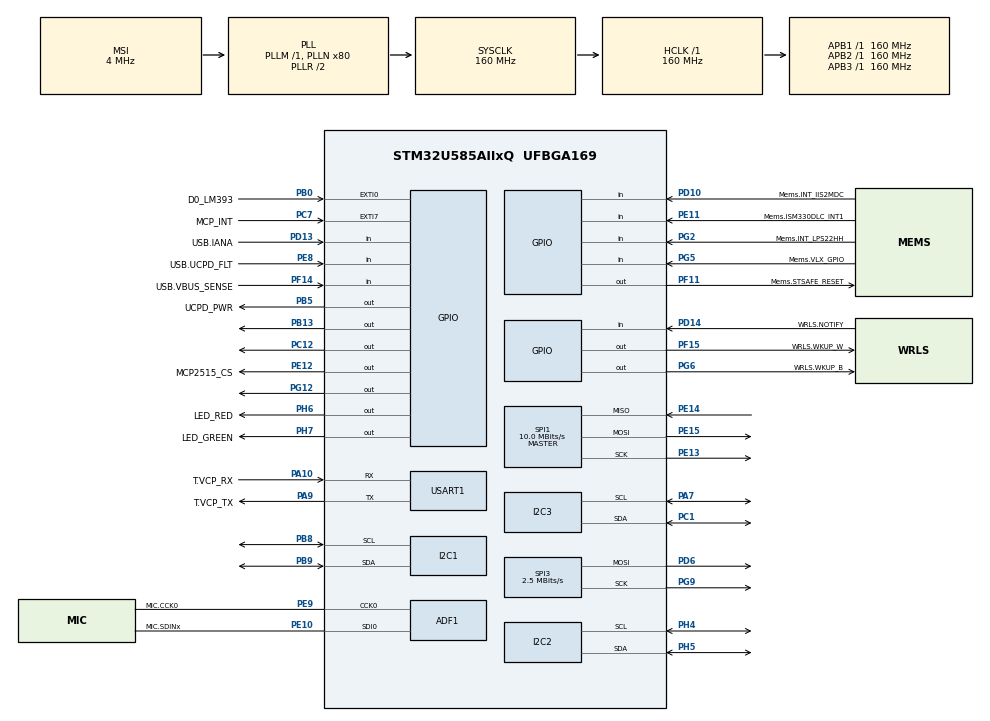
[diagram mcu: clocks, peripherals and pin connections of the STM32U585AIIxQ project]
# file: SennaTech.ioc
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ADF1.MDF_COMPARAM_ActivationOutputClock=ENABLE
ADF1.MDF_COMPARAM_Divider=10
ADF1.MDF_DFLT0_Decimation=64
ADF1.MDF_DFLT0_DiscardSamples=16
CORTEX_M33_NS.userName=CORTEX_M33
I2C1.Timing=0x30909DEC
I2C2.Timing=0x30909DEC
I2C3.Timing=0x30909DEC
Mcu.Family=STM32U5
Mcu.Name=STM32U585AIIxQ
Mcu.Package=UFBGA169
NVIC.EXTI0_IRQn=true\:0\:0\:false\:false\:true\:false\:true\:true\:true
NVIC.EXTI7_IRQn=true\:0\:0\:false\:false\:true\:false\:true\:true\:true
NVIC.PriorityGroup=NVIC_PRIORITYGROUP_4
NVIC.TIM6_IRQn=true\:15\:0\:false\:false\:true\:false\:false\:true\:true
NVIC.TimeBase=TIM6_IRQn
NVIC.TimeBaseIP=TIM6
PA10.GPIO_Label=T.VCP_RX
PA10.Mode=Asynchronous
PA10.Signal=USART1_RX
PA11.GPIO_Label=USB.C_P
PA11.Signal=USB_OTG_FS_DM
PA12.GPIO_Label=USB.C_P
PA12.Signal=USB_OTG_FS_DP
PA13\ (JTMS/SWDIO).GPIO_Label=T.SWDIO
PA13\ (JTMS/SWDIO).Signal=DEBUG_JTMS-SWDIO
PA14\ (JTCK/SWCLK).GPIO_Label=T.SWCLK
PA14\ (JTCK/SWCLK).Signal=DEBUG_JTCK-SWCLK
PA7.GPIO_Pu=GPIO_NOPULL
PA7.Mode=I2C
PA7.Signal=I2C3_SCL
PA9.GPIO_Label=T.VCP_TX
PA9.Mode=Asynchronous
PA9.Signal=USART1_TX
PB0.GPIO_Label=D0_LM393
PB0.GPIO_ModeDefaultEXTI=GPIO_MODE_IT_FALLING
PB0.GPIO_PuPd=GPIO_PULLUP
PB0.Signal=GPXTI0
PB1.Signal=MDF1_SDI0
PB11.GPIO_Label=OCTOSPI.R_NCS
PB11.Signal=OCTOSPIM_P1_NCS
PB13.Signal=GPIO_Output
PB15.GPIO_Label=USB.UCPD_CC2
PB15.Signal=UCPD1_CC2
PB3\ (JTDO/TRACESWO).GPIO_Label=T.SWO
PB3\ (JTDO/TRACESWO).Signal=DEBUG_JTDO-SWO
PB5.GPIO_Label=UCPD_PWR
PB5.Signal=GPIO_Output
PB8.Mode=I2C
PB8.Signal=I2C1_SCL
PB9.Mode=I2C
PB9.Signal=I2C1_SDA
PC1.GPIO_Pu=GPIO_NOPULL
PC1.Mode=I2C
PC1.Signal=I2C3_SDA
PC10.GPIO_Label=WRLS.UART4_TX
PC10.Signal=UART4_TX
PC12.Signal=GPIO_Output
PC7.GPIO_Label=MCP_INT
PC7.GPIO_ModeDefaultEXTI=GPIO_MODE_IT_FALLING
PC7.GPIO_PuPd=GPIO_PULLUP
PC7.Signal=GPXTI7
PD10.GPIO_Label=Mems.INT_IIS2MDC
PD10.Signal=GPIO_Input
PD13.GPIO_Label=USB.IANA
PD13.Signal=GPIO_Input
PD14.GPIO_Label=WRLS.NOTIFY
PD14.Signal=GPIO_Input
PD3.GPIO_Mode=GPIO_MODE_AF_PP
PD3.GPIO_PuPd=GPIO_NOPULL
PD3.GPIO_Speed=GPIO_SPEED_FREQ_LOW
PD3.Signal=SPI2_MISO
PD4.GPIO_Mode=GPIO_MODE_AF_PP
PD4.GPIO_PuPd=GPIO_NOPULL
PD4.GPIO_Speed=GPIO_SPEED_FREQ_LOW
PD4.Signal=SPI2_MOSI
PD6.Mode=TX_Only_Simplex_Unidirect_Master
PD6.Signal=SPI3_MOSI
PE10.GPIO_Label=MIC.SDINx
PE10.Mode=MOD_ADF_CCK
PE10.Signal=ADF1_SDI0
PE11.GPIO_Label=Mems.ISM330DLC_INT1
PE11.Signal=GPIO_Input
PE12.GPIO_Label=MCP2515_CS
PE12.GPIO_PuPd=GPIO_NOPULL
PE12.PinState=GPIO_PIN_SET
PE12.Signal=GPIO_Output
PE13.Mode=Full_Duplex_Master
PE13.Signal=SPI1_SCK
PE14.Mode=Full_Duplex_Master
PE14.Signal=SPI1_MISO
PE15.Mode=Full_Duplex_Master
PE15.Signal=SPI1_MOSI
PE8.GPIO_Label=USB.UCPD_FLT
PE8.Signal=GPIO_Input
PE9.GPIO_Label=MIC.CCK0
PE9.Mode=MOD_MDF_CCK0
PE9.Signal=ADF1_CCK0
PF10.Signal=MDF1_CCK1
PF11.GPIO_Label=Mems.STSAFE_RESET
PF11.Signal=GPIO_Output
PF12.GPIO_Label=OCTOSPI.F_DQS
PF12.Signal=OCTOSPIM_P2_DQS
PF14.GPIO_Label=USB.VBUS_SENSE
PF14.Signal=GPIO_Input
PF15.GPIO_Label=WRLS.WKUP_W
PF15.Signal=GPIO_Output
PF4.GPIO_Label=OCTOSPI.F_CLK_P
PF4.Signal=OCTOSPIM_P2_CLK
PG12.Signal=GPIO_Output
PG2.GPIO_Label=Mems.INT_LPS22HH
PG2.Signal=GPIO_Input
PG5.GPIO_Label=Mems.VLX_GPIO
PG5.Signal=GPIO_Input
PG6.GPIO_Label=WRLS.WKUP_B
PG6.Signal=GPIO_Output
PG9.Mode=TX_Only_Simplex_Unidirect_Master
PG9.Signal=SPI3_SCK
PH4.Mode=I2C
PH4.Signal=I2C2_SCL
PH5.Mode=I2C
PH5.Signal=I2C2_SDA
PH6.GPIO_Label=LED_RED
PH6.Signal=GPIO_Output
PH7.GPIO_Label=LED_GREEN
PH7.Signal=GPIO_Output
PH9.GPIO_Label=OCTOSPI.F_IO4
PH9.Signal=OCTOSPIM_P2_IO4
PWR.PowerMode=PWR_SMPS_SUPPLY
ProjectManager.HeapSize=0x200
ProjectManager.StackSize=0x400
ProjectManager.TargetToolchain=CMake
RCC.ADCFreq_Value=16000000
RCC.AHBFreq_Value=160000000
RCC.APB1Freq_Value=160000000
RCC.APB1TimFreq_Value=160000000
RCC.APB2Freq_Value=160000000
RCC.APB2TimFreq_Value=160000000
RCC.APB3Freq_Value=160000000
RCC.CortexFreq_Value=160000000
RCC.DACCLockSelectionVirtual=RCC_DAC1CLKSOURCE_LSI
RCC.EPOD_VALUE=4000000
RCC.HCLKFreq_Value=160000000
RCC.HSE_VALUE=16000000
RCC.HSI48_VALUE=48000000
RCC.HSI_VALUE=16000000
RCC.LSE_VALUE=32768
RCC.LSIDIV_VALUE=32000
RCC.MSI_VALUE=4000000
RCC.PLLN=80
RCC.SYSCLKFreq_VALUE=160000000
RCC.SYSCLKSource=RCC_SYSCLKSOURCE_PLLCLK
RCC.USBFreq_Value=48000000
RCC.VCOOutputFreq_Value=320000000
SPI1.BaudRatePrescaler=SPI_BAUDRATEPRESCALER_16
SPI1.CalculateBaudRate=10.0 MBits/s
SPI1.DataSize=SPI_DATASIZE_8BIT
SPI1.Direction=SPI_DIRECTION_2LINES
SPI1.Mode=SPI_MODE_MASTER
SPI1.VirtualType=VM_MASTER
SPI3.BaudRatePrescaler=SPI_BAUDRATEPRESCALER_64
SPI3.CalculateBaudRate=2.5 MBits/s
SPI3.Direction=SPI_DIRECTION_2LINES_TXONLY
SPI3.Mode=SPI_MODE_MASTER
SPI3.VirtualType=VM_MASTER
USART1.VirtualMode-Asynchronous=VM_ASYNC
VP_ICACHE_VS_ICACHE.Mode=DirectMappedCache
VP_LPBAMQUEUE_VS_QUEUE.Mode=QUEUEMODE
VP_LPBAM_VS_SIG1.Mode=SmartRun
VP_LPBAM_VS_SIG4.Mode=LPDMA1
VP_MEMORYMAP_VS_MEMORYMAP.Mode=CurAppReg
VP_PWR_VS_DBSignals.Mode=DisableDeadBatterySignals
VP_PWR_VS_LPOM.Mode=PowerOptimisation
VP_PWR_VS_SECSignals.Mode=Security/Privilege
VP_SYS_VS_tim6.Mode=TIM6
VP_THREADX_VS_RTOSJjThreadXJjCoreJjDefault.Mode=Core_Default
board=B-U585I-IOT02A

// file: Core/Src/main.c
/* USER CODE BEGIN Header */
/**
  ******************************************************************************
  * @file           : main.c
  * @brief          : Main program body
  ******************************************************************************
  * @attention
  *
  * Copyright (c) 2025 STMicroelectronics.
  * All rights reserved.
  *
  * This software is licensed under terms that can be found in the LICENSE file
  * in the root directory of this software component.
  * If no LICENSE file comes with this software, it is provided AS-IS.
  *
  ******************************************************************************
  */
/* USER CODE END Header */
#include "app_threadx.h"
#include "main.h"

/* USER CODE BEGIN Includes */
#include "mcp2515.h"
#include <string.h>
#include "core_cm33.h"
/* USER CODE END Includes */

/* USER CODE BEGIN PD */
#define PULSOS_POR_ROTACAO 20  // Number of holes in the encoder disc
#define INTERVALO_ENVIO_MS 100 // Updates the RPM and sends CAN every 100ms (10Hz)
/* USER CODE END PD */

MDF_HandleTypeDef AdfHandle0;
MDF_FilterConfigTypeDef AdfFilterConfig0;

I2C_HandleTypeDef hi2c1;
I2C_HandleTypeDef hi2c2;
I2C_HandleTypeDef hi2c3;

SPI_HandleTypeDef hspi1;
SPI_HandleTypeDef hspi3;

UART_HandleTypeDef huart1;

/* USER CODE BEGIN PV */
// --- Sensor variables---
volatile uint32_t pulse_count = 0; // Pulse counter (incremented on interrupt)
int rpm = 0;
uint32_t last_pulse_count = 0;
uint32_t last_time_ms = 0;
volatile uint32_t last_pulse_time = 0;
volatile uint32_t delta_t = 0;
volatile float rpm_instant = 0;
uint32_t last_print = 0;
volatile uint32_t last_interrupt_time = 0;

// --- CAN variables ---
CAN_Frame rxFrame;
volatile uint8_t flag_mensagem_recebida = 0; // Flag to process in the loop
/* USER CODE END PV */

void SystemClock_Config(void);
static void SystemPower_Config(void);
static void MX_GPIO_Init(void);
static void MX_I2C1_Init(void);
static void MX_ICACHE_Init(void);
static void MX_USART1_UART_Init(void);
static void MX_SPI1_Init(void);
static void MX_I2C3_Init(void);
static void MX_I2C2_Init(void);
static void MX_SPI3_Init(void);
static void MX_ADF1_Init(void);

/* USER CODE BEGIN 0 */

//Debug SWV print
int _write(int file, char *ptr, int len) {
    for (int i = 0; i < len; i++) {
        ITM_SendChar(*ptr++);
    }
    return len;
}

/* USER CODE END 0 */

int main(void)
{

  /* MCU Configuration--------------------------------------------------------*/

  /* Reset of all peripherals, Initializes the Flash interface and the Systick. */
  HAL_Init();

  /* Configure the System Power */
  SystemPower_Config();

  /* Configure the system clock */
  SystemClock_Config();

  /* Initialize all configured peripherals */
  MX_GPIO_Init();
  MX_I2C1_Init();
  MX_ICACHE_Init();
  MX_USART1_UART_Init();
  MX_SPI1_Init();
  MX_I2C3_Init();
  MX_I2C2_Init();
  MX_SPI3_Init();
  MX_ADF1_Init();
  /* USER CODE BEGIN 2 */

  /* WARNING */
  // Do not delete
  EXTI->SWIER1 = (1 << 0);

  /* USER CODE END 2 */

  MX_ThreadX_Init();

  /* We should never get here as control is now taken by the scheduler */

  /* Infinite loop */
  while (1)
  {

  }
}

void SystemClock_Config(void)
{
  RCC_OscInitTypeDef RCC_OscInitStruct = {0};
  RCC_ClkInitTypeDef RCC_ClkInitStruct = {0};

  /** Configure the main internal regulator output voltage
  */
  if (HAL_PWREx_ControlVoltageScaling(PWR_REGULATOR_VOLTAGE_SCALE1) != HAL_OK)
  {
    Error_Handler();
  }

  /** Initializes the CPU, AHB and APB buses clocks
  */
  RCC_OscInitStruct.OscillatorType = RCC_OSCILLATORTYPE_MSI;
  RCC_OscInitStruct.MSIState = RCC_MSI_ON;
  RCC_OscInitStruct.MSICalibrationValue = RCC_MSICALIBRATION_DEFAULT;
  RCC_OscInitStruct.MSIClockRange = RCC_MSIRANGE_4;
  RCC_OscInitStruct.PLL.PLLState = RCC_PLL_ON;
  RCC_OscInitStruct.PLL.PLLSource = RCC_PLLSOURCE_MSI;
  RCC_OscInitStruct.PLL.PLLMBOOST = RCC_PLLMBOOST_DIV1;
  RCC_OscInitStruct.PLL.PLLM = 1;
  RCC_OscInitStruct.PLL.PLLN = 80;
  RCC_OscInitStruct.PLL.PLLP = 2;
  RCC_OscInitStruct.PLL.PLLQ = 2;
  RCC_OscInitStruct.PLL.PLLR = 2;
  RCC_OscInitStruct.PLL.PLLRGE = RCC_PLLVCIRANGE_0;
  RCC_OscInitStruct.PLL.PLLFRACN = 0;
  if (HAL_RCC_OscConfig(&RCC_OscInitStruct) != HAL_OK)
  {
    Error_Handler();
  }

  /** Initializes the CPU, AHB and APB buses clocks
  */
  RCC_ClkInitStruct.ClockType = RCC_CLOCKTYPE_HCLK|RCC_CLOCKTYPE_SYSCLK
                              |RCC_CLOCKTYPE_PCLK1|RCC_CLOCKTYPE_PCLK2
                              |RCC_CLOCKTYPE_PCLK3;
  RCC_ClkInitStruct.SYSCLKSource = RCC_SYSCLKSOURCE_PLLCLK;
  RCC_ClkInitStruct.AHBCLKDivider = RCC_SYSCLK_DIV1;
  RCC_ClkInitStruct.APB1CLKDivider = RCC_HCLK_DIV1;
  RCC_ClkInitStruct.APB2CLKDivider = RCC_HCLK_DIV1;
  RCC_ClkInitStruct.APB3CLKDivider = RCC_HCLK_DIV1;

  if (HAL_RCC_ClockConfig(&RCC_ClkInitStruct, FLASH_LATENCY_4) != HAL_OK)
  {
    Error_Handler();
  }
}

/**
  * @brief Power Configuration
  * @retval None
  */
static void SystemPower_Config(void)
{
  HAL_PWREx_EnableVddIO2();

  /*
   * Disable the internal Pull-Up in Dead Battery pins of UCPD peripheral
   */
  HAL_PWREx_DisableUCPDDeadBattery();

  /*
   * Switch to SMPS regulator instead of LDO
   */
  if (HAL_PWREx_ConfigSupply(PWR_SMPS_SUPPLY) != HAL_OK)
  {
    Error_Handler();
  }
}

static void MX_ADF1_Init(void)
{

  /**
    AdfHandle0 structure initialization and HAL_MDF_Init function call
  */
  AdfHandle0.Instance = ADF1_Filter0;
  AdfHandle0.Init.CommonParam.ProcClockDivider = 1;
  AdfHandle0.Init.CommonParam.OutputClock.Activation = ENABLE;
  AdfHandle0.Init.CommonParam.OutputClock.Pins = MDF_OUTPUT_CLOCK_0;
  AdfHandle0.Init.CommonParam.OutputClock.Divider = 10;
  AdfHandle0.Init.CommonParam.OutputClock.Trigger.Activation = DISABLE;
  AdfHandle0.Init.SerialInterface.Activation = ENABLE;
  AdfHandle0.Init.SerialInterface.Mode = MDF_SITF_LF_MASTER_SPI_MODE;
  AdfHandle0.Init.SerialInterface.ClockSource = MDF_SITF_CCK0_SOURCE;
  AdfHandle0.Init.SerialInterface.Threshold = 4;
  AdfHandle0.Init.FilterBistream = MDF_BITSTREAM0_FALLING;
  if (HAL_MDF_Init(&AdfHandle0) != HAL_OK)
  {
    Error_Handler();
  }

  /**
    AdfFilterConfig0 structure initialization

    WARNING : only structure is filled, no specific init function call for filter
  */
  AdfFilterConfig0.DataSource = MDF_DATA_SOURCE_BSMX;
  AdfFilterConfig0.Delay = 0;
  AdfFilterConfig0.CicMode = MDF_ONE_FILTER_SINC4;
  AdfFilterConfig0.DecimationRatio = 64;
  AdfFilterConfig0.Gain = 0;
  AdfFilterConfig0.ReshapeFilter.Activation = DISABLE;
  AdfFilterConfig0.HighPassFilter.Activation = DISABLE;
  AdfFilterConfig0.SoundActivity.Activation = DISABLE;
  AdfFilterConfig0.AcquisitionMode = MDF_MODE_ASYNC_CONT;
  AdfFilterConfig0.FifoThreshold = MDF_FIFO_THRESHOLD_NOT_EMPTY;
  AdfFilterConfig0.DiscardSamples = 16;

}

static void MX_I2C1_Init(void)
{

  hi2c1.Instance = I2C1;
  hi2c1.Init.Timing = 0x30909DEC;
  hi2c1.Init.OwnAddress1 = 0;
  hi2c1.Init.AddressingMode = I2C_ADDRESSINGMODE_7BIT;
  hi2c1.Init.DualAddressMode = I2C_DUALADDRESS_DISABLE;
  hi2c1.Init.OwnAddress2 = 0;
  hi2c1.Init.OwnAddress2Masks = I2C_OA2_NOMASK;
  hi2c1.Init.GeneralCallMode = I2C_GENERALCALL_DISABLE;
  hi2c1.Init.NoStretchMode = I2C_NOSTRETCH_DISABLE;
  if (HAL_I2C_Init(&hi2c1) != HAL_OK)
  {
    Error_Handler();
  }

  /** Configure Analogue filter
  */
  if (HAL_I2CEx_ConfigAnalogFilter(&hi2c1, I2C_ANALOGFILTER_ENABLE) != HAL_OK)
  {
    Error_Handler();
  }

  /** Configure Digital filter
  */
  if (HAL_I2CEx_ConfigDigitalFilter(&hi2c1, 0) != HAL_OK)
  {
    Error_Handler();
  }

}

static void MX_I2C2_Init(void)
{

  hi2c2.Instance = I2C2;
  hi2c2.Init.Timing = 0x30909DEC;
  hi2c2.Init.OwnAddress1 = 0;
  hi2c2.Init.AddressingMode = I2C_ADDRESSINGMODE_7BIT;
  hi2c2.Init.DualAddressMode = I2C_DUALADDRESS_DISABLE;
  hi2c2.Init.OwnAddress2 = 0;
  hi2c2.Init.OwnAddress2Masks = I2C_OA2_NOMASK;
  hi2c2.Init.GeneralCallMode = I2C_GENERALCALL_DISABLE;
  hi2c2.Init.NoStretchMode = I2C_NOSTRETCH_DISABLE;
  if (HAL_I2C_Init(&hi2c2) != HAL_OK)
  {
    Error_Handler();
  }

  /** Configure Analogue filter
  */
  if (HAL_I2CEx_ConfigAnalogFilter(&hi2c2, I2C_ANALOGFILTER_ENABLE) != HAL_OK)
  {
    Error_Handler();
  }

  /** Configure Digital filter
  */
  if (HAL_I2CEx_ConfigDigitalFilter(&hi2c2, 0) != HAL_OK)
  {
    Error_Handler();
  }

}

static void MX_I2C3_Init(void)
{

  hi2c3.Instance = I2C3;
  hi2c3.Init.Timing = 0x30909DEC;
  hi2c3.Init.OwnAddress1 = 0;
  hi2c3.Init.AddressingMode = I2C_ADDRESSINGMODE_7BIT;
  hi2c3.Init.DualAddressMode = I2C_DUALADDRESS_DISABLE;
  hi2c3.Init.OwnAddress2 = 0;
  hi2c3.Init.OwnAddress2Masks = I2C_OA2_NOMASK;
  hi2c3.Init.GeneralCallMode = I2C_GENERALCALL_DISABLE;
  hi2c3.Init.NoStretchMode = I2C_NOSTRETCH_DISABLE;
  if (HAL_I2C_Init(&hi2c3) != HAL_OK)
  {
    Error_Handler();
  }

  /** Configure Analogue filter
  */
  if (HAL_I2CEx_ConfigAnalogFilter(&hi2c3, I2C_ANALOGFILTER_ENABLE) != HAL_OK)
  {
    Error_Handler();
  }

  /** Configure Digital filter
  */
  if (HAL_I2CEx_ConfigDigitalFilter(&hi2c3, 0) != HAL_OK)
  {
    Error_Handler();
  }

}

static void MX_ICACHE_Init(void)
{

  /** Enable instruction cache in 1-way (direct mapped cache)
  */
  if (HAL_ICACHE_ConfigAssociativityMode(ICACHE_1WAY) != HAL_OK)
  {
    Error_Handler();
  }
  if (HAL_ICACHE_Enable() != HAL_OK)
  {
    Error_Handler();
  }

}

static void MX_SPI1_Init(void)
{

  SPI_AutonomousModeConfTypeDef HAL_SPI_AutonomousMode_Cfg_Struct = {0};

  /* SPI1 parameter configuration*/
  hspi1.Instance = SPI1;
  hspi1.Init.Mode = SPI_MODE_MASTER;
  hspi1.Init.Direction = SPI_DIRECTION_2LINES;
  hspi1.Init.DataSize = SPI_DATASIZE_8BIT;
  hspi1.Init.CLKPolarity = SPI_POLARITY_LOW;
  hspi1.Init.CLKPhase = SPI_PHASE_1EDGE;
  hspi1.Init.NSS = SPI_NSS_SOFT;
  hspi1.Init.BaudRatePrescaler = SPI_BAUDRATEPRESCALER_16;
  hspi1.Init.FirstBit = SPI_FIRSTBIT_MSB;
  hspi1.Init.TIMode = SPI_TIMODE_DISABLE;
  hspi1.Init.CRCCalculation = SPI_CRCCALCULATION_DISABLE;
  hspi1.Init.CRCPolynomial = 0x7;
  hspi1.Init.NSSPMode = SPI_NSS_PULSE_ENABLE;
  hspi1.Init.NSSPolarity = SPI_NSS_POLARITY_LOW;
  hspi1.Init.FifoThreshold = SPI_FIFO_THRESHOLD_01DATA;
  hspi1.Init.MasterSSIdleness = SPI_MASTER_SS_IDLENESS_00CYCLE;
  hspi1.Init.MasterInterDataIdleness = SPI_MASTER_INTERDATA_IDLENESS_00CYCLE;
  hspi1.Init.MasterReceiverAutoSusp = SPI_MASTER_RX_AUTOSUSP_DISABLE;
  hspi1.Init.MasterKeepIOState = SPI_MASTER_KEEP_IO_STATE_DISABLE;
  hspi1.Init.IOSwap = SPI_IO_SWAP_DISABLE;
  hspi1.Init.ReadyMasterManagement = SPI_RDY_MASTER_MANAGEMENT_INTERNALLY;
  hspi1.Init.ReadyPolarity = SPI_RDY_POLARITY_HIGH;
  if (HAL_SPI_Init(&hspi1) != HAL_OK)
  {
    Error_Handler();
  }
  HAL_SPI_AutonomousMode_Cfg_Struct.TriggerState = SPI_AUTO_MODE_DISABLE;
  HAL_SPI_AutonomousMode_Cfg_Struct.TriggerSelection = SPI_GRP1_GPDMA_CH0_TCF_TRG;
  HAL_SPI_AutonomousMode_Cfg_Struct.TriggerPolarity = SPI_TRIG_POLARITY_RISING;
  if (HAL_SPIEx_SetConfigAutonomousMode(&hspi1, &HAL_SPI_AutonomousMode_Cfg_Struct) != HAL_OK)
  {
    Error_Handler();
  }

}

static void MX_SPI3_Init(void)
{

  SPI_AutonomousModeConfTypeDef HAL_SPI_AutonomousMode_Cfg_Struct = {0};

  /* SPI3 parameter configuration*/
  hspi3.Instance = SPI3;
  hspi3.Init.Mode = SPI_MODE_MASTER;
  hspi3.Init.Direction = SPI_DIRECTION_2LINES_TXONLY;
  hspi3.Init.DataSize = SPI_DATASIZE_8BIT;
  hspi3.Init.CLKPolarity = SPI_POLARITY_LOW;
  hspi3.Init.CLKPhase = SPI_PHASE_1EDGE;
  hspi3.Init.NSS = SPI_NSS_SOFT;
  hspi3.Init.BaudRatePrescaler = SPI_BAUDRATEPRESCALER_64;
  hspi3.Init.FirstBit = SPI_FIRSTBIT_MSB;
  hspi3.Init.TIMode = SPI_TIMODE_DISABLE;
  hspi3.Init.CRCCalculation = SPI_CRCCALCULATION_DISABLE;
  hspi3.Init.CRCPolynomial = 0x7;
  hspi3.Init.NSSPMode = SPI_NSS_PULSE_ENABLE;
  hspi3.Init.NSSPolarity = SPI_NSS_POLARITY_LOW;
  hspi3.Init.FifoThreshold = SPI_FIFO_THRESHOLD_01DATA;
  hspi3.Init.MasterSSIdleness = SPI_MASTER_SS_IDLENESS_00CYCLE;
  hspi3.Init.MasterInterDataIdleness = SPI_MASTER_INTERDATA_IDLENESS_00CYCLE;
  hspi3.Init.MasterReceiverAutoSusp = SPI_MASTER_RX_AUTOSUSP_DISABLE;
  hspi3.Init.MasterKeepIOState = SPI_MASTER_KEEP_IO_STATE_DISABLE;
  hspi3.Init.IOSwap = SPI_IO_SWAP_DISABLE;
  hspi3.Init.ReadyMasterManagement = SPI_RDY_MASTER_MANAGEMENT_INTERNALLY;
  hspi3.Init.ReadyPolarity = SPI_RDY_POLARITY_HIGH;
  if (HAL_SPI_Init(&hspi3) != HAL_OK)
  {
    Error_Handler();
  }
  HAL_SPI_AutonomousMode_Cfg_Struct.TriggerState = SPI_AUTO_MODE_DISABLE;
  HAL_SPI_AutonomousMode_Cfg_Struct.TriggerSelection = SPI_GRP2_LPDMA_CH0_TCF_TRG;
  HAL_SPI_AutonomousMode_Cfg_Struct.TriggerPolarity = SPI_TRIG_POLARITY_RISING;
  if (HAL_SPIEx_SetConfigAutonomousMode(&hspi3, &HAL_SPI_AutonomousMode_Cfg_Struct) != HAL_OK)
  {
    Error_Handler();
  }

}

static void MX_USART1_UART_Init(void)
{

  huart1.Instance = USART1;
  huart1.Init.BaudRate = 115200;
  huart1.Init.WordLength = UART_WORDLENGTH_8B;
  huart1.Init.StopBits = UART_STOPBITS_1;
  huart1.Init.Parity = UART_PARITY_NONE;
  huart1.Init.Mode = UART_MODE_TX_RX;
  huart1.Init.HwFlowCtl = UART_HWCONTROL_NONE;
  huart1.Init.OverSampling = UART_OVERSAMPLING_16;
  huart1.Init.OneBitSampling = UART_ONE_BIT_SAMPLE_DISABLE;
  huart1.Init.ClockPrescaler = UART_PRESCALER_DIV1;
  huart1.AdvancedInit.AdvFeatureInit = UART_ADVFEATURE_NO_INIT;
  if (HAL_UART_Init(&huart1) != HAL_OK)
  {
    Error_Handler();
  }
  if (HAL_UARTEx_SetTxFifoThreshold(&huart1, UART_TXFIFO_THRESHOLD_1_8) != HAL_OK)
  {
    Error_Handler();
  }
  if (HAL_UARTEx_SetRxFifoThreshold(&huart1, UART_RXFIFO_THRESHOLD_1_8) != HAL_OK)
  {
    Error_Handler();
  }
  if (HAL_UARTEx_DisableFifoMode(&huart1) != HAL_OK)
  {
    Error_Handler();
  }

}

static void MX_GPIO_Init(void)
{
  GPIO_InitTypeDef GPIO_InitStruct = {0};

  /* GPIO Ports Clock Enable */
  __HAL_RCC_GPIOG_CLK_ENABLE();
  __HAL_RCC_GPIOD_CLK_ENABLE();
  __HAL_RCC_GPIOB_CLK_ENABLE();
  __HAL_RCC_GPIOC_CLK_ENABLE();
  __HAL_RCC_GPIOA_CLK_ENABLE();
  __HAL_RCC_GPIOH_CLK_ENABLE();
  __HAL_RCC_GPIOF_CLK_ENABLE();
  __HAL_RCC_GPIOE_CLK_ENABLE();

  /*Configure GPIO pin Output Level */
  HAL_GPIO_WritePin(GPIOB, UCPD_PWR_Pin|GPIO_PIN_13, GPIO_PIN_RESET);

  /*Configure GPIO pin Output Level */
  HAL_GPIO_WritePin(GPIOG, GPIO_PIN_12|WRLS_WKUP_B_Pin, GPIO_PIN_RESET);

  /*Configure GPIO pin Output Level */
  HAL_GPIO_WritePin(GPIOC, GPIO_PIN_12, GPIO_PIN_RESET);

  /*Configure GPIO pin Output Level */
  HAL_GPIO_WritePin(GPIOH, LED_RED_Pin|LED_GREEN_Pin, GPIO_PIN_RESET);

  /*Configure GPIO pin Output Level */
  HAL_GPIO_WritePin(GPIOF, Mems_STSAFE_RESET_Pin|WRLS_WKUP_W_Pin, GPIO_PIN_RESET);

  /*Configure GPIO pin Output Level */
  HAL_GPIO_WritePin(MCP2515_CS_GPIO_Port, MCP2515_CS_Pin, GPIO_PIN_SET);

  /*Configure GPIO pins : UCPD_PWR_Pin PB13 */
  GPIO_InitStruct.Pin = UCPD_PWR_Pin|GPIO_PIN_13;
  GPIO_InitStruct.Mode = GPIO_MODE_OUTPUT_PP;
  GPIO_InitStruct.Pull = GPIO_NOPULL;
  GPIO_InitStruct.Speed = GPIO_SPEED_FREQ_LOW;
  HAL_GPIO_Init(GPIOB, &GPIO_InitStruct);

  /*Configure GPIO pins : PD4 PD3 */
  GPIO_InitStruct.Pin = GPIO_PIN_4|GPIO_PIN_3;
  GPIO_InitStruct.Mode = GPIO_MODE_AF_PP;
  GPIO_InitStruct.Pull = GPIO_NOPULL;
  GPIO_InitStruct.Speed = GPIO_SPEED_FREQ_LOW;
  GPIO_InitStruct.Alternate = GPIO_AF5_SPI2;
  HAL_GPIO_Init(GPIOD, &GPIO_InitStruct);

  /*Configure GPIO pin : WRLS_UART4_TX_Pin */
  GPIO_InitStruct.Pin = WRLS_UART4_TX_Pin;
  GPIO_InitStruct.Mode = GPIO_MODE_AF_PP;
  GPIO_InitStruct.Pull = GPIO_NOPULL;
  GPIO_InitStruct.Speed = GPIO_SPEED_FREQ_LOW;
  GPIO_InitStruct.Alternate = GPIO_AF8_UART4;
  HAL_GPIO_Init(WRLS_UART4_TX_GPIO_Port, &GPIO_InitStruct);

  /*Configure GPIO pins : PG12 WRLS_WKUP_B_Pin */
  GPIO_InitStruct.Pin = GPIO_PIN_12|WRLS_WKUP_B_Pin;
  GPIO_InitStruct.Mode = GPIO_MODE_OUTPUT_PP;
  GPIO_InitStruct.Pull = GPIO_NOPULL;
  GPIO_InitStruct.Speed = GPIO_SPEED_FREQ_LOW;
  HAL_GPIO_Init(GPIOG, &GPIO_InitStruct);

  /*Configure GPIO pin : PC12 */
  GPIO_InitStruct.Pin = GPIO_PIN_12;
  GPIO_InitStruct.Mode = GPIO_MODE_OUTPUT_PP;
  GPIO_InitStruct.Pull = GPIO_NOPULL;
  GPIO_InitStruct.Speed = GPIO_SPEED_FREQ_LOW;
  HAL_GPIO_Init(GPIOC, &GPIO_InitStruct);

  /*Configure GPIO pin : OCTOSPI_F_IO4_Pin */
  GPIO_InitStruct.Pin = OCTOSPI_F_IO4_Pin;
  GPIO_InitStruct.Mode = GPIO_MODE_AF_PP;
  GPIO_InitStruct.Pull = GPIO_NOPULL;
  GPIO_InitStruct.Speed = GPIO_SPEED_FREQ_VERY_HIGH;
  GPIO_InitStruct.Alternate = GPIO_AF5_OCTOSPI2;
  HAL_GPIO_Init(OCTOSPI_F_IO4_GPIO_Port, &GPIO_InitStruct);

  /*Configure GPIO pins : LED_RED_Pin LED_GREEN_Pin */
  GPIO_InitStruct.Pin = LED_RED_Pin|LED_GREEN_Pin;
  GPIO_InitStruct.Mode = GPIO_MODE_OUTPUT_PP;
  GPIO_InitStruct.Pull = GPIO_NOPULL;
  GPIO_InitStruct.Speed = GPIO_SPEED_FREQ_LOW;
  HAL_GPIO_Init(GPIOH, &GPIO_InitStruct);

  /*Configure GPIO pins : USB_C_P_Pin USB_C_PA11_Pin */
  GPIO_InitStruct.Pin = USB_C_P_Pin|USB_C_PA11_Pin;
  GPIO_InitStruct.Mode = GPIO_MODE_AF_PP;
  GPIO_InitStruct.Pull = GPIO_NOPULL;
  GPIO_InitStruct.Speed = GPIO_SPEED_FREQ_LOW;
  GPIO_InitStruct.Alternate = GPIO_AF10_USB;
  HAL_GPIO_Init(GPIOA, &GPIO_InitStruct);

  /*Configure GPIO pins : OCTOSPI_F_CLK_P_Pin OCTOSPI_F_DQS_Pin */
  GPIO_InitStruct.Pin = OCTOSPI_F_CLK_P_Pin|OCTOSPI_F_DQS_Pin;
  GPIO_InitStruct.Mode = GPIO_MODE_AF_PP;
  GPIO_InitStruct.Pull = GPIO_NOPULL;
  GPIO_InitStruct.Speed = GPIO_SPEED_FREQ_VERY_HIGH;
  GPIO_InitStruct.Alternate = GPIO_AF5_OCTOSPI2;
  HAL_GPIO_Init(GPIOF, &GPIO_InitStruct);

  /*Configure GPIO pin : MCP_INT_Pin */
  GPIO_InitStruct.Pin = MCP_INT_Pin;
  GPIO_InitStruct.Mode = GPIO_MODE_IT_FALLING;
  GPIO_InitStruct.Pull = GPIO_PULLUP;
  HAL_GPIO_Init(MCP_INT_GPIO_Port, &GPIO_InitStruct);

  /*Configure GPIO pin : PF10 */
  GPIO_InitStruct.Pin = GPIO_PIN_10;
  GPIO_InitStruct.Mode = GPIO_MODE_AF_PP;
  GPIO_InitStruct.Pull = GPIO_NOPULL;
  GPIO_InitStruct.Speed = GPIO_SPEED_FREQ_LOW;
  GPIO_InitStruct.Alternate = GPIO_AF6_MDF1;
  HAL_GPIO_Init(GPIOF, &GPIO_InitStruct);

  /*Configure GPIO pins : Mems_VLX_GPIO_Pin Mems_INT_LPS22HH_Pin */
  GPIO_InitStruct.Pin = Mems_VLX_GPIO_Pin|Mems_INT_LPS22HH_Pin;
  GPIO_InitStruct.Mode = GPIO_MODE_INPUT;
  GPIO_InitStruct.Pull = GPIO_NOPULL;
  HAL_GPIO_Init(GPIOG, &GPIO_InitStruct);

  /*Configure GPIO pins : WRLS_NOTIFY_Pin Mems_INT_IIS2MDC_Pin USB_IANA_Pin */
  GPIO_InitStruct.Pin = WRLS_NOTIFY_Pin|Mems_INT_IIS2MDC_Pin|USB_IANA_Pin;
  GPIO_InitStruct.Mode = GPIO_MODE_INPUT;
  GPIO_InitStruct.Pull = GPIO_NOPULL;
  HAL_GPIO_Init(GPIOD, &GPIO_InitStruct);

  /*Configure GPIO pin : D0_LM393_Pin */
  GPIO_InitStruct.Pin = D0_LM393_Pin;
  GPIO_InitStruct.Mode = GPIO_MODE_IT_FALLING;
  GPIO_InitStruct.Pull = GPIO_PULLUP;
  HAL_GPIO_Init(D0_LM393_GPIO_Port, &GPIO_InitStruct);

  /*Configure GPIO pins : USB_UCPD_FLT_Pin Mems_ISM330DLC_INT1_Pin */
  GPIO_InitStruct.Pin = USB_UCPD_FLT_Pin|Mems_ISM330DLC_INT1_Pin;
  GPIO_InitStruct.Mode = GPIO_MODE_INPUT;
  GPIO_InitStruct.Pull = GPIO_NOPULL;
  HAL_GPIO_Init(GPIOE, &GPIO_InitStruct);

  /*Configure GPIO pin : USB_VBUS_SENSE_Pin */
  GPIO_InitStruct.Pin = USB_VBUS_SENSE_Pin;
  GPIO_InitStruct.Mode = GPIO_MODE_INPUT;
  GPIO_InitStruct.Pull = GPIO_NOPULL;
  HAL_GPIO_Init(USB_VBUS_SENSE_GPIO_Port, &GPIO_InitStruct);

  /*Configure GPIO pin : OCTOSPI_R_NCS_Pin */
  GPIO_InitStruct.Pin = OCTOSPI_R_NCS_Pin;
  GPIO_InitStruct.Mode = GPIO_MODE_AF_PP;
  GPIO_InitStruct.Pull = GPIO_NOPULL;
  GPIO_InitStruct.Speed = GPIO_SPEED_FREQ_VERY_HIGH;
  GPIO_InitStruct.Alternate = GPIO_AF10_OCTOSPI1;
  HAL_GPIO_Init(OCTOSPI_R_NCS_GPIO_Port, &GPIO_InitStruct);

  /*Configure GPIO pin : USB_UCPD_CC2_Pin */
  GPIO_InitStruct.Pin = USB_UCPD_CC2_Pin;
  GPIO_InitStruct.Mode = GPIO_MODE_ANALOG;
  GPIO_InitStruct.Pull = GPIO_NOPULL;
  HAL_GPIO_Init(USB_UCPD_CC2_GPIO_Port, &GPIO_InitStruct);

  /*Configure GPIO pins : Mems_STSAFE_RESET_Pin WRLS_WKUP_W_Pin */
  GPIO_InitStruct.Pin = Mems_STSAFE_RESET_Pin|WRLS_WKUP_W_Pin;
  GPIO_InitStruct.Mode = GPIO_MODE_OUTPUT_PP;
  GPIO_InitStruct.Pull = GPIO_NOPULL;
  GPIO_InitStruct.Speed = GPIO_SPEED_FREQ_LOW;
  HAL_GPIO_Init(GPIOF, &GPIO_InitStruct);

  /*Configure GPIO pin : PB1 */
  GPIO_InitStruct.Pin = GPIO_PIN_1;
  GPIO_InitStruct.Mode = GPIO_MODE_AF_PP;
  GPIO_InitStruct.Pull = GPIO_NOPULL;
  GPIO_InitStruct.Speed = GPIO_SPEED_FREQ_LOW;
  GPIO_InitStruct.Alternate = GPIO_AF6_MDF1;
  HAL_GPIO_Init(GPIOB, &GPIO_InitStruct);

  /*Configure GPIO pin : MCP2515_CS_Pin */
  GPIO_InitStruct.Pin = MCP2515_CS_Pin;
  GPIO_InitStruct.Mode = GPIO_MODE_OUTPUT_PP;
  GPIO_InitStruct.Pull = GPIO_NOPULL;
  GPIO_InitStruct.Speed = GPIO_SPEED_FREQ_LOW;
  HAL_GPIO_Init(MCP2515_CS_GPIO_Port, &GPIO_InitStruct);

  /* EXTI interrupt init*/
  HAL_NVIC_SetPriority(EXTI0_IRQn, 0, 0);
  HAL_NVIC_EnableIRQ(EXTI0_IRQn);

  HAL_NVIC_SetPriority(EXTI7_IRQn, 0, 0);
  HAL_NVIC_EnableIRQ(EXTI7_IRQn);

  /* USER CODE BEGIN MX_GPIO_Init_2 */
  //Clear any pending flags BEFORE enabling.
  if (__HAL_GPIO_EXTI_GET_IT(D0_LM393_Pin) != 0x00u) {
    __HAL_GPIO_EXTI_CLEAR_IT(D0_LM393_Pin);
  }

  //Sensor - Top Priority (0)
  HAL_NVIC_SetPriority(EXTI0_IRQn, 0, 0);

  //Enables the Interrupt
  HAL_NVIC_EnableIRQ(EXTI0_IRQn);

  //CAN interruption
  HAL_NVIC_SetPriority(EXTI7_IRQn, 1, 0);
  HAL_NVIC_EnableIRQ(EXTI7_IRQn);
  /* USER CODE END MX_GPIO_Init_2 */
}

void HAL_TIM_PeriodElapsedCallback(TIM_HandleTypeDef *htim)
{
  if (htim->Instance == TIM6)
  {
    HAL_IncTick();
  }
}

void Error_Handler(void)
{
  __disable_irq();
  while (1)
  {
  }
}
